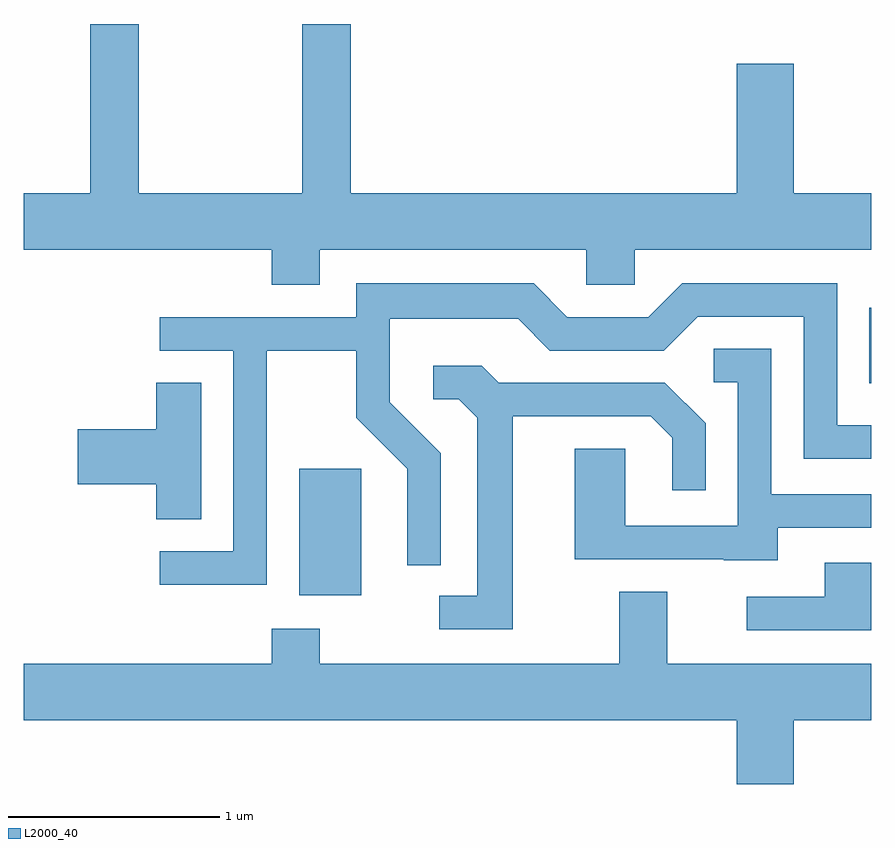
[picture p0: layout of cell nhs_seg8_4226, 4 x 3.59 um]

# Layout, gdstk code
import gdstk
lib = gdstk.Library(unit=1e-6, precision=1e-09)
def R(c, l, rs):  # rectangles x0, y0, x1, y1
    for r in rs: c.add(gdstk.rectangle(r[:2], r[2:], *l))
def P(c, l, *ps):  # polygons
    for p in ps: c.add(gdstk.Polygon(p, *l))
L2000_40 = (2000, 40)

nhs_seg8_4226 = lib.new_cell('nhs_seg8_4226')
R(nhs_seg8_4226, L2000_40, [(312.911,1863.646,313.204,1864.244), (315.601,1864.646,315.611,1865.003)])
P(nhs_seg8_4226, L2000_40, [(313.009,1865.276),(314.266,1865.276),(314.266,1865.111),(314.494,1865.111),(314.494,1865.276),(315.611,1865.276),(315.611,1865.544),(315.244,1865.544),(315.244,1866.154),(314.976,1866.154),(314.976,1865.544),(313.154,1865.544),(313.154,1866.342),(312.926,1866.342),(312.926,1865.544),(312.154,1865.544),(312.154,1866.342),(311.926,1866.342),(311.926,1865.544),(311.611,1865.544),(311.611,1865.276),(312.781,1865.276),(312.781,1865.111),(313.009,1865.111)],
  [(312.759,1864.801),(313.181,1864.801),(313.181,1864.484),(313.421,1864.244),(313.421,1863.788),(313.579,1863.788),(313.579,1864.317),(313.339,1864.557),(313.339,1864.951),(313.944,1864.951),(314.094,1864.801),(314.632,1864.801),(314.792,1864.961),(315.291,1864.961),(315.291,1864.291),(315.611,1864.291),(315.611,1864.449),(315.449,1864.449),(315.449,1865.119),(314.719,1865.119),(314.559,1864.959),(314.177,1864.959),(314.017,1865.119),(313.181,1865.119),(313.181,1864.959),(312.253,1864.959),(312.253,1864.801),(312.601,1864.801),(312.601,1863.854),(312.253,1863.854),(312.253,1863.696),(312.759,1863.696)],
  [(315.169,1863.966),(315.611,1863.966),(315.611,1864.124),(315.139,1864.124),(315.139,1864.809),(314.868,1864.809),(314.868,1864.651),(314.981,1864.651),(314.981,1863.974),(314.449,1863.974),(314.449,1864.339),(314.211,1864.339),(314.211,1863.816),(314.915,1863.816),(314.915,1863.811),(315.169,1863.811)],
  [(313.919,1864.491),(314.569,1864.491),(314.671,1864.389),(314.671,1864.143),(314.829,1864.143),(314.829,1864.457),(314.637,1864.649),(313.852,1864.649),(313.772,1864.729),(313.543,1864.729),(313.543,1864.571),(313.664,1864.571),(313.751,1864.484),(313.751,1863.644),(313.573,1863.644),(313.573,1863.486),(313.919,1863.486)],
  [(312.449,1864.649),(312.236,1864.649),(312.236,1864.429),(311.866,1864.429),(311.866,1864.171),(312.236,1864.171),(312.236,1864.006),(312.449,1864.006)],
  [(315.611,1863.799),(315.391,1863.799),(315.391,1863.639),(315.023,1863.639),(315.023,1863.481),(315.611,1863.481)],
  [(315.244,1863.056),(315.611,1863.056),(315.611,1863.324),(314.649,1863.324),(314.649,1863.664),(314.421,1863.664),(314.421,1863.324),(313.009,1863.324),(313.009,1863.489),(312.781,1863.489),(312.781,1863.324),(311.611,1863.324),(311.611,1863.056),(314.976,1863.056),(314.976,1862.756),(315.244,1862.756)])

lib.write_gds('nhs_seg8_4226.gds')
